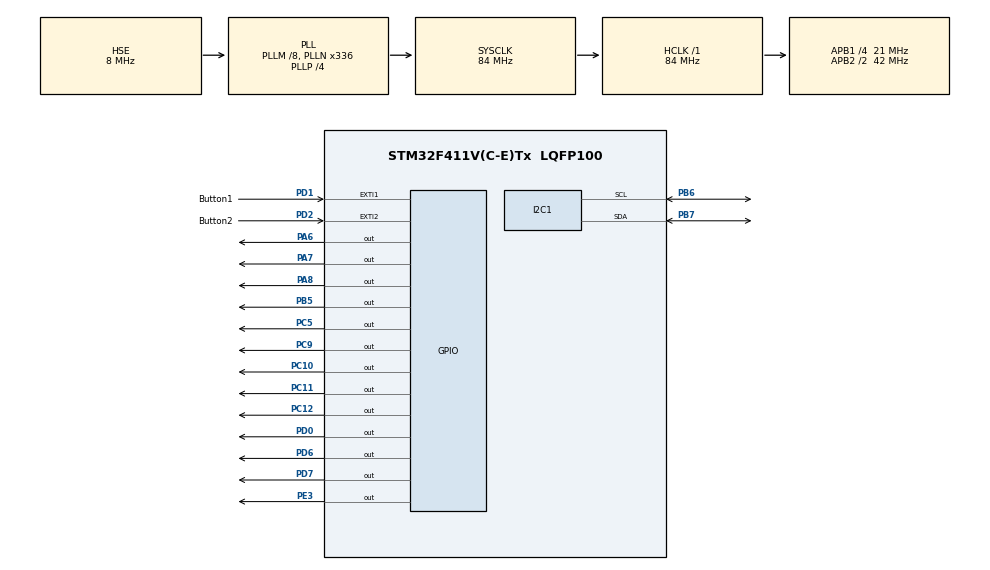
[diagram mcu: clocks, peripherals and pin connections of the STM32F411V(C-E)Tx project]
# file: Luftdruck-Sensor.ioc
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Mcu.Family=STM32F4
Mcu.Name=STM32F411V(C-E)Tx
Mcu.Package=LQFP100
NVIC.EXTI1_IRQn=true\:0\:0\:false\:false\:true\:true\:true\:true
NVIC.EXTI2_IRQn=true\:0\:0\:false\:false\:true\:true\:true\:true
NVIC.PriorityGroup=NVIC_PRIORITYGROUP_4
PA6.Signal=GPIO_Output
PA7.Signal=GPIO_Output
PA8.Signal=GPIO_Output
PB5.Signal=GPIO_Output
PB6.Mode=I2C
PB6.Signal=I2C1_SCL
PB7.Mode=I2C
PB7.Signal=I2C1_SDA
PC10.Signal=GPIO_Output
PC11.Signal=GPIO_Output
PC12.Signal=GPIO_Output
PC5.Signal=GPIO_Output
PC9.Signal=GPIO_Output
PD0.Signal=GPIO_Output
PD1.GPIO_Label=Button1
PD1.GPIO_ModeDefaultEXTI=GPIO_MODE_IT_FALLING
PD1.Signal=GPXTI1
PD2.GPIO_Label=Button2
PD2.GPIO_ModeDefaultEXTI=GPIO_MODE_IT_FALLING
PD2.Signal=GPXTI2
PD6.Signal=GPIO_Output
PD7.Signal=GPIO_Output
PE3.Signal=GPIO_Output
PH0\ -\ OSC_IN.Mode=HSE-External-Oscillator
PH0\ -\ OSC_IN.Signal=RCC_OSC_IN
PH1\ -\ OSC_OUT.Mode=HSE-External-Oscillator
PH1\ -\ OSC_OUT.Signal=RCC_OSC_OUT
ProjectManager.HeapSize=0x200
ProjectManager.StackSize=0x400
ProjectManager.TargetToolchain=CMake
RCC.48MHZClocksFreq_Value=84000000
RCC.AHBFreq_Value=84000000
RCC.APB1CLKDivider=RCC_HCLK_DIV4
RCC.APB1Freq_Value=21000000
RCC.APB1TimFreq_Value=42000000
RCC.APB2CLKDivider=RCC_HCLK_DIV2
RCC.APB2Freq_Value=42000000
RCC.APB2TimFreq_Value=84000000
RCC.CortexFreq_Value=84000000
RCC.HCLKFreq_Value=84000000
RCC.HSE_VALUE=8000000
RCC.HSI_VALUE=16000000
RCC.LSE_VALUE=32768
RCC.PLLM=8
RCC.PLLN=336
RCC.PLLP=RCC_PLLP_DIV4
RCC.PLLSourceVirtual=RCC_PLLSOURCE_HSE
RCC.SYSCLKFreq_VALUE=84000000
RCC.SYSCLKSource=RCC_SYSCLKSOURCE_PLLCLK
RCC.VCOOutputFreq_Value=336000000
board=custom

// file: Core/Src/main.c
/* USER CODE BEGIN Header */
/**
  ******************************************************************************
  * @file           : main.c
  * @brief          : Main program body
  ******************************************************************************
  * @attention
  *
  * Copyright (c) 2026 STMicroelectronics.
  * All rights reserved.
  *
  * This software is licensed under terms that can be found in the LICENSE file
  * in the root directory of this software component.
  * If no LICENSE file comes with this software, it is provided AS-IS.
  *
  ******************************************************************************
  */
/* USER CODE END Header */
#include "main.h"

/* USER CODE BEGIN Includes */
#include "SiebenSeg.h"
#include "bmp180.h"
#include "test_bmp180.h"
#include <stdint.h>
#include <math.h>
/* USER CODE END Includes */

/* USER CODE BEGIN PD */
#define SENSOR_INTERVAL_MS  500   /* Sensor read every 500 ms */
#define DISPLAY_INTERVAL_MS 10    /* Display refresh every 10 ms (100 Hz) */
#define DEBOUNCE_MS         200   /* Button debounce time */
/* USER CODE END PD */

I2C_HandleTypeDef hi2c1;

void SystemClock_Config(void);
static void MX_GPIO_Init(void);
static void MX_I2C1_Init(void);

/* USER CODE BEGIN 0 */

/* Sensor readings (volatile = visible in debug watch while running) */
volatile int32_t TemperatureX10 = 0;  /* 0.1 degC */
volatile int32_t PressurePa     = 0;  /* Pascal */
volatile int32_t AltitudeM      = 0;  /* metres */
volatile int32_t PressureDelta  = 0;  /* Pa change since last sample */
volatile uint8_t  TestI2C_OK    = 0;  /* != 0 if BMP180 responds on I2C (test mode) */
volatile uint8_t  TestRead_OK   = 0;  /* != 0 if measurement succeeded (test mode) */

/* Internal scaling values for 7-seg display,  multiplied to avoid floating point calculations*/
uint16_t PressureBarX1000 = 0;  /* Pressure in bar * 1000 (e.g. 994 = 0.994 bar) */
uint16_t TempX100         = 0;  /* Temperature * 100 (e.g. 830 = 08.30 C) */
uint16_t AltitudeDispM    = 0;  /* Altitude in whole metres (e.g. 266) */
uint16_t DeltaAbs         = 0;  /* |PressureDelta| in Pa (e.g. 50 = 50 Pa) */

/* Altitude calibration (one-shot from first measurement + known reference) */
int32_t KnownAltitudeMeters = 276;  /* Set to non-zero for absolute altitude, 171 average, 276 in Hernals */
int32_t SeaLevelPressure    = 101325;  /* Pa (integer reference) */
uint8_t AltitudeCalibrated  = 0;
int32_t PressurePrev        = 0;

/* Display mode (cycled by buttons) */
typedef enum { DISP_PRESSURE = 0, DISP_DELTA, DISP_TEMPERATURE, DISP_ALTITUDE } DispMode_t;
volatile DispMode_t DispMode = DISP_PRESSURE;

/* Non-blocking timing state */
static uint32_t lastSensorTick  = 0;
static uint32_t lastDisplayTick = 0;

/* USER CODE END 0 */

int main(void)
{

  /* MCU Configuration--------------------------------------------------------*/

  /* Reset of all peripherals, Initializes the Flash interface and the Systick. */
  HAL_Init();

  /* USER CODE BEGIN Init */
  Reset_7Seg();
  /* USER CODE END Init */

  /* Configure the system clock */
  SystemClock_Config();

  /* Initialize all configured peripherals */
  MX_GPIO_Init();
  MX_I2C1_Init();
  /* USER CODE BEGIN 2 */
  BMP180_Start();

#ifdef BMP180_TEST
  /* Test harness: show results on 7-segment display, no debugger needed */
  TestBMP180_Init();
  {
    TestBMP180_Result_t tr = TestBMP180_RunOnce();
    TemperatureX10 = tr.temperature_x10;
    PressurePa     = tr.pressure_pa;
    AltitudeM      = tr.altitude_m;
    PressureDelta  = tr.pressure_delta;
    TestI2C_OK     = tr.i2c_ok;
    TestRead_OK    = tr.ok;

    if (!tr.i2c_ok) {
      /* I2C error: show "E1" (Error 1) */
      while (1) {
        Write_7Seg_Hex(0x00E1, 4);
        HAL_Delay(1000);
      }
    }
    if (!tr.ok) {
      /* Read error: show "E2" (Error 2) */
      while (1) {
        Write_7Seg_Hex(0x00E2, 4);
        HAL_Delay(1000);
      }
    }

    /* Success: cycle through results on 7-segment display */
    /* Periodically re-check I2C to detect runtime hardware failures */
    while (1) {
      /* Check I2C connectivity before each display cycle */
      if (!TestBMP180_CheckI2C()) {
        /* I2C failure detected at runtime: show "E1" */
        while (!TestBMP180_CheckI2C()) {
          Write_7Seg_Hex(0x00E1, 4);
          HAL_Delay(1000);
        }
        /* I2C restored: re-read sensor values */
        TemperatureX10 = BMP180_GetTemp();
        PressurePa     = BMP180_GetPress(0);
        AltitudeM      = BMP180_GetAlt(0);
        PressureDelta  = PressurePa - PressurePrev;
        PressurePrev   = PressurePa;
        continue;  /* restart display cycle with fresh values */
      }

      /* Temperature: e.g. 22.3 C -> 2230 with DP at pos 1 */
      if (TemperatureX10 >= 0) {
        uint16_t tempDisp = (uint16_t)(TemperatureX10 * 10);
        if (tempDisp > 9999) tempDisp = 9999;
        Write_7Seg(tempDisp, 1);
      } else {
        Write_7Seg(0, 4);
      }
      HAL_Delay(2000);

      /* Check I2C again */
      if (!TestBMP180_CheckI2C()) {
        while (!TestBMP180_CheckI2C()) {
          Write_7Seg_Hex(0x00E1, 4);
          HAL_Delay(1000);
        }
        TemperatureX10 = BMP180_GetTemp();
        PressurePa     = BMP180_GetPress(0);
        AltitudeM      = BMP180_GetAlt(0);
        PressureDelta  = PressurePa - PressurePrev;
        PressurePrev   = PressurePa;
        continue;
      }

      /* Pressure: e.g. 99400 Pa -> 994 bar*1000 -> 0994 with DP at pos 0 */
      uint16_t pressDisp = (uint16_t)((PressurePa + 50) / 100);
      if (pressDisp > 9999) pressDisp = 9999;
      Write_7Seg(pressDisp, 0);
      HAL_Delay(2000);

      /* Check I2C again */
      if (!TestBMP180_CheckI2C()) {
        while (!TestBMP180_CheckI2C()) {
          Write_7Seg_Hex(0x00E1, 4);
          HAL_Delay(1000);
        }
        TemperatureX10 = BMP180_GetTemp();
        PressurePa     = BMP180_GetPress(0);
        AltitudeM      = BMP180_GetAlt(0);
        PressureDelta  = PressurePa - PressurePrev;
        PressurePrev   = PressurePa;
        continue;
      }

      /* Altitude: e.g. 276 m -> 0276 */
      uint16_t altDisp = (uint16_t)((AltitudeM < 0) ? 0 : AltitudeM);
      if (altDisp > 9999) altDisp = 9999;
      Write_7Seg(altDisp, 4);
      HAL_Delay(2000);
    }
  }
#endif
  /* USER CODE END 2 */

  /* Initialize timing */
  lastSensorTick  = HAL_GetTick();
  lastDisplayTick = HAL_GetTick();

  /* Infinite loop */
  while (1)
  {

    /* USER CODE BEGIN 3 */
    uint32_t now = HAL_GetTick();

    /* --- Sensor reading (every SENSOR_INTERVAL_MS) --- */
    if ((now - lastSensorTick) >= SENSOR_INTERVAL_MS)
    {
      lastSensorTick = now;

      /* Read temperature and pressure from BMP180 */
      TemperatureX10 = BMP180_GetTemp();
      PressurePa     = BMP180_GetPress(0);

      /* Initialize altitude calibration if no KnownAltitudeMeters is provided */
      if (!AltitudeCalibrated)
      {
        PressurePrev = PressurePa;
        if (KnownAltitudeMeters != 0)
        {
          float p = (float)PressurePa;
          float h0 = (float)KnownAltitudeMeters;
           /* Guard against invalid tiny/large values */
          if (h0 < 40000.0f && h0 > -500.0f)
          {
            float factor = 1.0f - (h0 / 44330.0f);
            if (factor <= 0.0f) factor = 1e-6f;
            float p0f = p * powf(factor, -5.255f);
            SeaLevelPressure = (int32_t)(p0f + 0.5f);
          }
          else
          {
             /* Fallback: use measured pressure */
            SeaLevelPressure = PressurePa;
          }
        }
        else
        {
          SeaLevelPressure = PressurePa;
        }
        AltitudeCalibrated = 1;
      }

      /* Derived values */
      AltitudeM     = BMP180_GetAlt(0);
      PressureDelta = PressurePa - PressurePrev;
      PressurePrev  = PressurePa;
    }

    /* --- Display update (every DISPLAY_INTERVAL_MS) --- */
    if ((now - lastDisplayTick) >= DISPLAY_INTERVAL_MS)
    {
      lastDisplayTick = now;

      switch (DispMode)
      {
        case DISP_DELTA:
          DeltaAbs = (uint16_t)((PressureDelta < 0) ? -PressureDelta : PressureDelta);  // no negative values: absolute value of pressure change since last sample
          if (DeltaAbs > 9999) DeltaAbs = 9999; // edge case: cap to display max
          Write_7Seg(DeltaAbs, 4);  // e.g. 0050 = 50 Pa change (no decimal)
          break;

        case DISP_PRESSURE:
          PressureBarX1000 = (uint16_t)((PressurePa + 50) / 100); // convert Pa to bar with rounding (e.g. 994 = 0.994 bar)
          if (PressureBarX1000 > 9999) PressureBarX1000 = 9999;
          Write_7Seg(PressureBarX1000, 0); // e.g. 0994 = 0.994 bar
          break;

        case DISP_TEMPERATURE:
          if (TemperatureX10 < 0)
          {
            Write_7Seg(0, 4); // display "----" for negative temperatures (e.g. -5.0 C)
          }
          else
          {
            TempX100 = (uint16_t)(TemperatureX10 * 10); // convert 0.1 degC to 0.01 degC for display (e.g. 830 = 08.30 C)
            if (TempX100 > 9999) TempX100 = 9999;
            Write_7Seg(TempX100, 1); // e.g. 0830 = 08.30 C (no decimal, but last digit is 0.1 C)
          }
          break;

        case DISP_ALTITUDE:
          AltitudeDispM = (uint16_t)((AltitudeM < 0) ? 0 : AltitudeM);
          if (AltitudeDispM > 9999) AltitudeDispM = 9999;
          Write_7Seg(AltitudeDispM, 4); // e.g. 0266 = 266 m (no decimal)
          break;
      }
    }
  }
  /* USER CODE END 3 */
}

void SystemClock_Config(void)
{
  RCC_OscInitTypeDef RCC_OscInitStruct = {0};
  RCC_ClkInitTypeDef RCC_ClkInitStruct = {0};

  /** Configure the main internal regulator output voltage
  */
  __HAL_RCC_PWR_CLK_ENABLE();
  __HAL_PWR_VOLTAGESCALING_CONFIG(PWR_REGULATOR_VOLTAGE_SCALE1);

  /** Initializes the RCC Oscillators according to the specified parameters
  * in the RCC_OscInitTypeDef structure.
  */
  RCC_OscInitStruct.OscillatorType = RCC_OSCILLATORTYPE_HSE;
  RCC_OscInitStruct.HSEState = RCC_HSE_ON;
  RCC_OscInitStruct.PLL.PLLState = RCC_PLL_ON;
  RCC_OscInitStruct.PLL.PLLSource = RCC_PLLSOURCE_HSE;
  RCC_OscInitStruct.PLL.PLLM = 8;
  RCC_OscInitStruct.PLL.PLLN = 336;
  RCC_OscInitStruct.PLL.PLLP = RCC_PLLP_DIV4;
  RCC_OscInitStruct.PLL.PLLQ = 4;
  if (HAL_RCC_OscConfig(&RCC_OscInitStruct) != HAL_OK)
  {
    Error_Handler();
  }

  /** Initializes the CPU, AHB and APB buses clocks
  */
  RCC_ClkInitStruct.ClockType = RCC_CLOCKTYPE_HCLK|RCC_CLOCKTYPE_SYSCLK
                              |RCC_CLOCKTYPE_PCLK1|RCC_CLOCKTYPE_PCLK2;
  RCC_ClkInitStruct.SYSCLKSource = RCC_SYSCLKSOURCE_PLLCLK;
  RCC_ClkInitStruct.AHBCLKDivider = RCC_SYSCLK_DIV1;
  RCC_ClkInitStruct.APB1CLKDivider = RCC_HCLK_DIV4;
  RCC_ClkInitStruct.APB2CLKDivider = RCC_HCLK_DIV2;

  if (HAL_RCC_ClockConfig(&RCC_ClkInitStruct, FLASH_LATENCY_2) != HAL_OK)
  {
    Error_Handler();
  }
}

/* USER CODE BEGIN 4 */

/**
  * @brief  EXTI callback – handles Button1 (PD1) and Button2 (PD2) with debounce.
  *
  * Button1: toggles between DISP_PRESSURE and DISP_DELTA.
  * Button2: cycles DISP_TEMPERATURE -> DISP_ALTITUDE -> DISP_PRESSURE -> ...
  *
  * This callback runs in interrupt context (from EXTI1/EXTI2 handlers).
  * It uses HAL_GetTick() for debounce, which is safe because HAL_IncTick()
  * is called from SysTick_Handler (higher priority than EXTI).
  */
void HAL_GPIO_EXTI_Callback(uint16_t GPIO_Pin)
{
  static uint32_t lastTick1 = 0;
  static uint32_t lastTick2 = 0;
  uint32_t now = HAL_GetTick();

  if (GPIO_Pin == Button1_Pin)
  {
    if ((now - lastTick1) > DEBOUNCE_MS)
    {
      lastTick1 = now;
      DispMode = (DispMode == DISP_DELTA) ? DISP_PRESSURE : DISP_DELTA;
    }
  }
  else if (GPIO_Pin == Button2_Pin)
  {
    if ((now - lastTick2) > DEBOUNCE_MS)
    {
      lastTick2 = now;
      switch (DispMode)
      {
        case DISP_TEMPERATURE: DispMode = DISP_ALTITUDE;    break;
        case DISP_ALTITUDE:    DispMode = DISP_PRESSURE;    break;
        default:               DispMode = DISP_TEMPERATURE; break;
      }
    }
  }
}
/* USER CODE END 4 */

static void MX_I2C1_Init(void)
{

  hi2c1.Instance = I2C1;
  hi2c1.Init.ClockSpeed = 100000;
  hi2c1.Init.DutyCycle = I2C_DUTYCYCLE_2;
  hi2c1.Init.OwnAddress1 = 0;
  hi2c1.Init.AddressingMode = I2C_ADDRESSINGMODE_7BIT;
  hi2c1.Init.DualAddressMode = I2C_DUALADDRESS_DISABLE;
  hi2c1.Init.OwnAddress2 = 0;
  hi2c1.Init.GeneralCallMode = I2C_GENERALCALL_DISABLE;
  hi2c1.Init.NoStretchMode = I2C_NOSTRETCH_DISABLE;
  if (HAL_I2C_Init(&hi2c1) != HAL_OK)
  {
    Error_Handler();
  }

}

static void MX_GPIO_Init(void)
{
  GPIO_InitTypeDef GPIO_InitStruct = {0};

  /* GPIO Ports Clock Enable */
  __HAL_RCC_GPIOE_CLK_ENABLE();
  __HAL_RCC_GPIOH_CLK_ENABLE();
  __HAL_RCC_GPIOA_CLK_ENABLE();
  __HAL_RCC_GPIOC_CLK_ENABLE();
  __HAL_RCC_GPIOD_CLK_ENABLE();
  __HAL_RCC_GPIOB_CLK_ENABLE();

  /*Configure GPIO pin Output Level */
  HAL_GPIO_WritePin(GPIOE, GPIO_PIN_3, GPIO_PIN_RESET);

  /*Configure GPIO pin Output Level */
  HAL_GPIO_WritePin(GPIOA, GPIO_PIN_6|GPIO_PIN_7|GPIO_PIN_8, GPIO_PIN_RESET);

  /*Configure GPIO pin Output Level */
  HAL_GPIO_WritePin(GPIOC, GPIO_PIN_5|GPIO_PIN_9|GPIO_PIN_10|GPIO_PIN_11
                          |GPIO_PIN_12, GPIO_PIN_RESET);

  /*Configure GPIO pin Output Level */
  HAL_GPIO_WritePin(GPIOD, GPIO_PIN_0|GPIO_PIN_6|GPIO_PIN_7, GPIO_PIN_RESET);

  /*Configure GPIO pin Output Level */
  HAL_GPIO_WritePin(GPIOB, GPIO_PIN_5, GPIO_PIN_RESET);

  /*Configure GPIO pin : PE3 */
  GPIO_InitStruct.Pin = GPIO_PIN_3;
  GPIO_InitStruct.Mode = GPIO_MODE_OUTPUT_PP;
  GPIO_InitStruct.Pull = GPIO_NOPULL;
  GPIO_InitStruct.Speed = GPIO_SPEED_FREQ_LOW;
  HAL_GPIO_Init(GPIOE, &GPIO_InitStruct);

  /*Configure GPIO pins : PA6 PA7 PA8 */
  GPIO_InitStruct.Pin = GPIO_PIN_6|GPIO_PIN_7|GPIO_PIN_8;
  GPIO_InitStruct.Mode = GPIO_MODE_OUTPUT_PP;
  GPIO_InitStruct.Pull = GPIO_NOPULL;
  GPIO_InitStruct.Speed = GPIO_SPEED_FREQ_LOW;
  HAL_GPIO_Init(GPIOA, &GPIO_InitStruct);

  /*Configure GPIO pins : PC5 PC9 PC10 PC11
                           PC12 */
  GPIO_InitStruct.Pin = GPIO_PIN_5|GPIO_PIN_9|GPIO_PIN_10|GPIO_PIN_11
                          |GPIO_PIN_12;
  GPIO_InitStruct.Mode = GPIO_MODE_OUTPUT_PP;
  GPIO_InitStruct.Pull = GPIO_NOPULL;
  GPIO_InitStruct.Speed = GPIO_SPEED_FREQ_LOW;
  HAL_GPIO_Init(GPIOC, &GPIO_InitStruct);

  /*Configure GPIO pins : PD0 PD6 PD7 */
  GPIO_InitStruct.Pin = GPIO_PIN_0|GPIO_PIN_6|GPIO_PIN_7;
  GPIO_InitStruct.Mode = GPIO_MODE_OUTPUT_PP;
  GPIO_InitStruct.Pull = GPIO_NOPULL;
  GPIO_InitStruct.Speed = GPIO_SPEED_FREQ_LOW;
  HAL_GPIO_Init(GPIOD, &GPIO_InitStruct);

  /*Configure GPIO pins : Button1_Pin Button2_Pin */
  GPIO_InitStruct.Pin = Button1_Pin|Button2_Pin;
  GPIO_InitStruct.Mode = GPIO_MODE_IT_FALLING;
  GPIO_InitStruct.Pull = GPIO_NOPULL;
  HAL_GPIO_Init(GPIOD, &GPIO_InitStruct);

  /*Configure GPIO pin : PB5 */
  GPIO_InitStruct.Pin = GPIO_PIN_5;
  GPIO_InitStruct.Mode = GPIO_MODE_OUTPUT_PP;
  GPIO_InitStruct.Pull = GPIO_NOPULL;
  GPIO_InitStruct.Speed = GPIO_SPEED_FREQ_LOW;
  HAL_GPIO_Init(GPIOB, &GPIO_InitStruct);

  /* EXTI interrupt init*/
  HAL_NVIC_SetPriority(EXTI1_IRQn, 0, 0);
  HAL_NVIC_EnableIRQ(EXTI1_IRQn);

  HAL_NVIC_SetPriority(EXTI2_IRQn, 0, 0);
  HAL_NVIC_EnableIRQ(EXTI2_IRQn);

}

void Error_Handler(void)
{
  __disable_irq();
  while (1)
  {
  }
}
